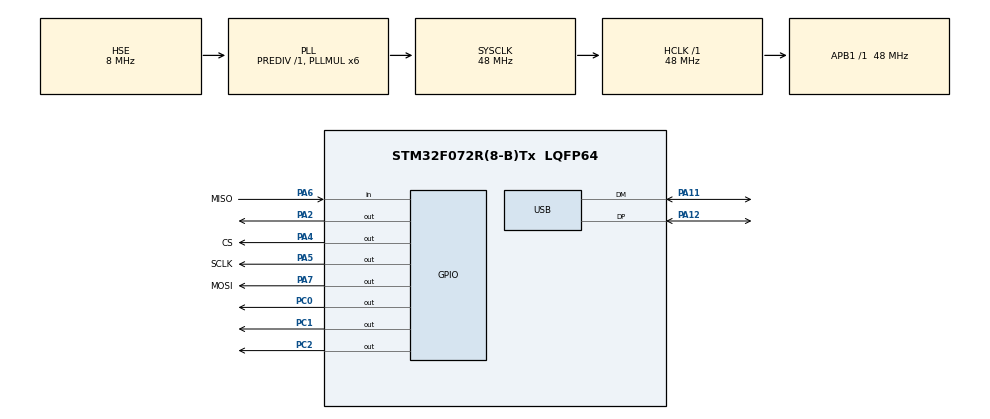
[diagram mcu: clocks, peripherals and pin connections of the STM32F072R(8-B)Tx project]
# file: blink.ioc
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Mcu.Family=STM32F0
Mcu.Name=STM32F072R(8-B)Tx
Mcu.Package=LQFP64
NVIC.USB_IRQn=true\:0\:0\:false\:false\:true\:false\:true\:true
PA11.Mode=Device
PA11.Signal=USB_DM
PA12.Mode=Device
PA12.Signal=USB_DP
PA2.Signal=GPIO_Output
PA4.GPIO_Label=CS
PA4.Signal=GPIO_Output
PA5.GPIO_Label=SCLK
PA5.Signal=GPIO_Output
PA6.GPIO_Label=MISO
PA6.Signal=GPIO_Input
PA7.GPIO_Label=MOSI
PA7.Signal=GPIO_Output
PC0.Signal=GPIO_Output
PC1.Signal=GPIO_Output
PC2.Signal=GPIO_Output
PF0-OSC_IN.Mode=HSE-External-Oscillator
PF0-OSC_IN.Signal=RCC_OSC_IN
PF1-OSC_OUT.Mode=HSE-External-Oscillator
PF1-OSC_OUT.Signal=RCC_OSC_OUT
ProjectManager.HeapSize=0x200
ProjectManager.StackSize=0x400
ProjectManager.TargetToolchain=STM32CubeIDE
RCC.AHBFreq_Value=48000000
RCC.APB1Freq_Value=48000000
RCC.APB1TimFreq_Value=48000000
RCC.HCLKFreq_Value=48000000
RCC.PLLMUL=RCC_PLL_MUL6
RCC.PLLSourceVirtual=RCC_PLLSOURCE_HSE
RCC.SYSCLKFreq_VALUE=48000000
RCC.SYSCLKSource=RCC_SYSCLKSOURCE_PLLCLK
RCC.USBFreq_Value=48000000
USB_DEVICE.CLASS_NAME_FS=HID
USB_DEVICE.MANUFACTURER_STRING=CAE32
USB_DEVICE.PRODUCT_STRING_HID_FS=CAE32
USB_DEVICE.VirtualMode=Hid
USB_DEVICE.VirtualModeFS=Hid_FS
VP_USB_DEVICE_VS_USB_DEVICE_HID_FS.Mode=HID_FS
board=custom

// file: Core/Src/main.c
/* USER CODE BEGIN Header */
/**
 ******************************************************************************
 * @file           : main.c
 * @brief          : Main program body
 ******************************************************************************
 * @attention
 *
 * Copyright (c) 2024 STMicroelectronics.
 * All rights reserved.
 *
 * This software is licensed under terms that can be found in the LICENSE file
 * in the root directory of this software component.
 * If no LICENSE file comes with this software, it is provided AS-IS.
 *
 ******************************************************************************
 */
/* USER CODE END Header */
#include "main.h"
#include "usb_device.h"

/* USER CODE BEGIN Includes */
#include "usbd_hid.h"
#include "i2cDriver.h"
#include "initialization.h"
/* USER CODE END Includes */

/* USER CODE BEGIN PV */
extern USBD_HandleTypeDef hUsbDeviceFS;
uint16_t rawAcceleratorValue=0;
uint16_t rawClutchValue=0;
uint16_t rawBrakeValue=0;
uint8_t acceleratorChannel=1;
uint8_t clutchChannel=2;
uint8_t brakeChannel=4;
/* USER CODE END PV */

void SystemClock_Config(void);
static void MX_GPIO_Init(void);

int main(void)
{

  /* MCU Configuration--------------------------------------------------------*/

  /* Reset of all peripherals, Initializes the Flash interface and the Systick. */
  HAL_Init();

  /* Configure the system clock */
  SystemClock_Config();

  /* Initialize all configured peripherals */
  MX_GPIO_Init();
  MX_USB_DEVICE_Init();

  /* Infinite loop */
  /* USER CODE BEGIN WHILE */
	while (1) {
		rawAcceleratorValue = ADC128S102_ReadSingleChannel(acceleratorChannel);
		rawBrakeValue=ADC128S102_ReadSingleChannel(brakeChannel);
		rawClutchValue=ADC128S102_ReadSingleChannel(clutchChannel);
		uint8_t mapAcceleratorValue = map(rawAcceleratorValue, 0, 3750, 0, 255);
		uint8_t mapBrakeValue = map(rawBrakeValue, 0, 3750, 0, 255);
		uint8_t mapClutchValue = map(rawClutchValue, 0, 3750, 0, 255);
		sendAxisValues(hUsbDeviceFS, mapAcceleratorValue, mapClutchValue, mapBrakeValue);
		/* USER CODE END WHILE */

	}
}

void SystemClock_Config(void)
{
  RCC_OscInitTypeDef RCC_OscInitStruct = {0};
  RCC_ClkInitTypeDef RCC_ClkInitStruct = {0};
  RCC_PeriphCLKInitTypeDef PeriphClkInit = {0};

  /** Initializes the RCC Oscillators according to the specified parameters
  * in the RCC_OscInitTypeDef structure.
  */
  RCC_OscInitStruct.OscillatorType = RCC_OSCILLATORTYPE_HSI48|RCC_OSCILLATORTYPE_HSE;
  RCC_OscInitStruct.HSEState = RCC_HSE_ON;
  RCC_OscInitStruct.HSI48State = RCC_HSI48_ON;
  RCC_OscInitStruct.PLL.PLLState = RCC_PLL_ON;
  RCC_OscInitStruct.PLL.PLLSource = RCC_PLLSOURCE_HSE;
  RCC_OscInitStruct.PLL.PLLMUL = RCC_PLL_MUL6;
  RCC_OscInitStruct.PLL.PREDIV = RCC_PREDIV_DIV1;
  if (HAL_RCC_OscConfig(&RCC_OscInitStruct) != HAL_OK)
  {
    Error_Handler();
  }

  /** Initializes the CPU, AHB and APB buses clocks
  */
  RCC_ClkInitStruct.ClockType = RCC_CLOCKTYPE_HCLK|RCC_CLOCKTYPE_SYSCLK
                              |RCC_CLOCKTYPE_PCLK1;
  RCC_ClkInitStruct.SYSCLKSource = RCC_SYSCLKSOURCE_PLLCLK;
  RCC_ClkInitStruct.AHBCLKDivider = RCC_SYSCLK_DIV1;
  RCC_ClkInitStruct.APB1CLKDivider = RCC_HCLK_DIV1;

  if (HAL_RCC_ClockConfig(&RCC_ClkInitStruct, FLASH_LATENCY_1) != HAL_OK)
  {
    Error_Handler();
  }
  PeriphClkInit.PeriphClockSelection = RCC_PERIPHCLK_USB;
  PeriphClkInit.UsbClockSelection = RCC_USBCLKSOURCE_HSI48;

  if (HAL_RCCEx_PeriphCLKConfig(&PeriphClkInit) != HAL_OK)
  {
    Error_Handler();
  }
}

static void MX_GPIO_Init(void)
{
  GPIO_InitTypeDef GPIO_InitStruct = {0};

  /* GPIO Ports Clock Enable */
  __HAL_RCC_GPIOF_CLK_ENABLE();
  __HAL_RCC_GPIOC_CLK_ENABLE();
  __HAL_RCC_GPIOA_CLK_ENABLE();

  /*Configure GPIO pin Output Level */
  HAL_GPIO_WritePin(GPIOC, GPIO_PIN_0|GPIO_PIN_1|GPIO_PIN_2, GPIO_PIN_RESET);

  /*Configure GPIO pin Output Level */
  HAL_GPIO_WritePin(GPIOA, GPIO_PIN_2|CS_Pin|SCLK_Pin|MOSI_Pin, GPIO_PIN_RESET);

  /*Configure GPIO pins : PC0 PC1 PC2 */
  GPIO_InitStruct.Pin = GPIO_PIN_0|GPIO_PIN_1|GPIO_PIN_2;
  GPIO_InitStruct.Mode = GPIO_MODE_OUTPUT_PP;
  GPIO_InitStruct.Pull = GPIO_NOPULL;
  GPIO_InitStruct.Speed = GPIO_SPEED_FREQ_LOW;
  HAL_GPIO_Init(GPIOC, &GPIO_InitStruct);

  /*Configure GPIO pins : PA2 CS_Pin SCLK_Pin MOSI_Pin */
  GPIO_InitStruct.Pin = GPIO_PIN_2|CS_Pin|SCLK_Pin|MOSI_Pin;
  GPIO_InitStruct.Mode = GPIO_MODE_OUTPUT_PP;
  GPIO_InitStruct.Pull = GPIO_NOPULL;
  GPIO_InitStruct.Speed = GPIO_SPEED_FREQ_LOW;
  HAL_GPIO_Init(GPIOA, &GPIO_InitStruct);

  /*Configure GPIO pin : MISO_Pin */
  GPIO_InitStruct.Pin = MISO_Pin;
  GPIO_InitStruct.Mode = GPIO_MODE_INPUT;
  GPIO_InitStruct.Pull = GPIO_NOPULL;
  HAL_GPIO_Init(MISO_GPIO_Port, &GPIO_InitStruct);

}

void Error_Handler(void)
{
	__disable_irq();
	while (1) {
	}
}
